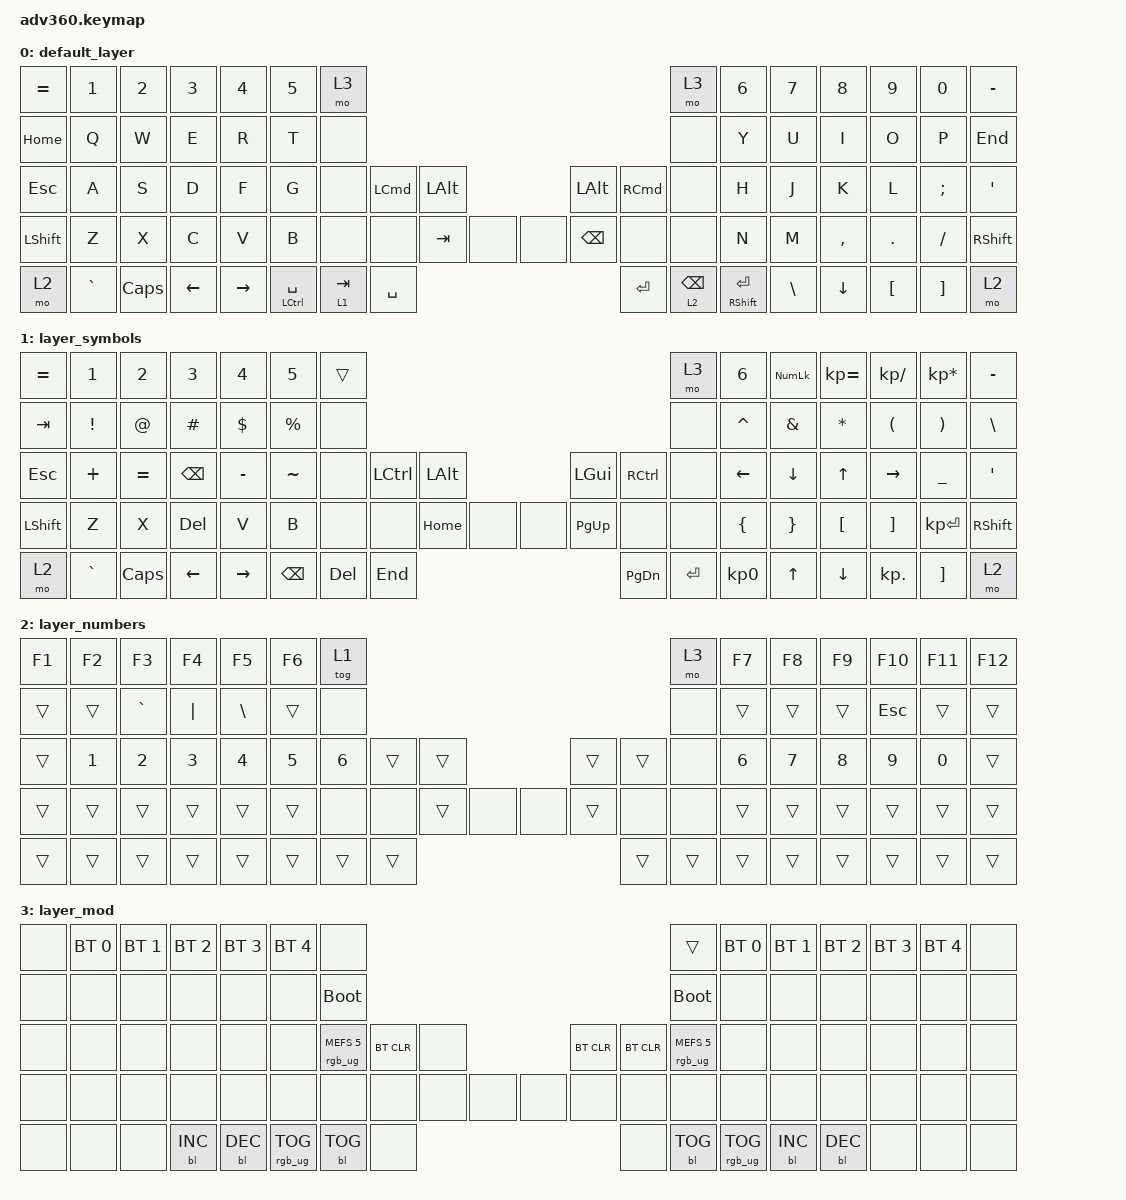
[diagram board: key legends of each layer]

/*
 * Copyright (c) 2020 The ZMK Contributors
 *
 * SPDX-License-Identifier: MIT
 */


/* THIS FILE WAS GENERATED!
 *
 * This file was generated automatically. You may or may not want to
 * edit it directly.
 */

#include <behaviors.dtsi>
#include <dt-bindings/zmk/keys.h>
#include <dt-bindings/zmk/bt.h>
#include <dt-bindings/zmk/rgb.h>
#include <dt-bindings/zmk/backlight.h>

&mt {
    tapping-term-ms = <150>;
    quick-tap-ms = <100>;
};

&lt {
    tapping-term-ms = <150>;
    quick-tap-ms = <100>;
};


/ {
  behaviors {
    #include "macros.dtsi"

    hm: homerow_mods {
        compatible = "zmk,behavior-hold-tap";
        label = "HOMEROW_MODS";
        #binding-cells = <2>;
        tapping-term-ms = <200>;
        quick_tap_ms = <175>;
        flavor = "tap-preferred";
        bindings = <&kp>, <&kp>;
    };
  };

    keymap {
        compatible = "zmk,keymap";


        default_layer {
            bindings = <
 &kp EQUAL     &kp N1    &kp N2    &kp N3     &kp N4  &kp N5                      &mo 3                                                                                            &mo 3  &kp N6         &kp N7     &kp N8    &kp N9    &kp N0  &kp MINUS
  &kp HOME      &kp Q     &kp W     &kp E      &kp R   &kp T                      &none                                                                                            &none   &kp Y          &kp U      &kp I     &kp O     &kp P    &kp END
   &kp ESC      &kp A     &kp S     &kp D      &kp F   &kp G                      &none  &kp LEFT_COMMAND   &kp LALT                       &kp LALT  &kp RIGHT_COMMAND             &none   &kp H          &kp J      &kp K     &kp L  &kp SEMI    &kp SQT
 &kp LSHFT      &kp Z     &kp X     &kp C      &kp V   &kp B                      &none             &none    &kp TAB   &none   &none  &kp BACKSPACE              &none             &none   &kp N          &kp M  &kp COMMA   &kp DOT  &kp FSLH  &kp RSHFT
     &mo 2  &kp GRAVE  &kp CAPS  &kp LEFT  &kp RIGHT                    &mt LCTRL SPACE         &lt 1 TAB  &kp SPACE                      &kp ENTER    &lt 2 BACKSPACE  &mt RSHIFT ENTER          &kp BACKSLASH   &kp DOWN  &kp LBKT  &kp RBKT      &mo 2
            >;
        };

        layer_symbols {
            bindings = <
 &kp EQUAL           &kp N1     &kp N2         &kp N3      &kp N4       &kp N5              &trans                                                                 &mo 3          &kp N6       &kp KP_NUM      &kp KP_EQUAL         &kp KP_DIVIDE        &kp KP_MULTIPLY  &kp MINUS
   &kp TAB  &kp EXCLAMATION     &kp AT       &kp HASH  &kp DOLLAR  &kp PERCENT               &none                                                                 &none       &kp CARET    &kp AMPERSAND      &kp ASTERISK  &kp LEFT_PARENTHESIS  &kp RIGHT_PARENTHESIS   &kp BSLH
   &kp ESC         &kp PLUS  &kp EQUAL  &kp BACKSPACE   &kp MINUS    &kp TILDE               &none  &kp LCTRL  &kp LALT                   &kp LGUI  &kp RCTRL      &none  &kp LEFT_ARROW   &kp DOWN_ARROW      &kp UP_ARROW       &kp RIGHT_ARROW         &kp UNDERSCORE    &kp SQT
 &kp LSHFT            &kp Z      &kp X     &kp DELETE       &kp V        &kp B               &none      &none  &kp HOME   &none   &none  &kp PG_UP      &none      &none  &kp LEFT_BRACE  &kp RIGHT_BRACE  &kp LEFT_BRACKET     &kp RIGHT_BRACKET           &kp KP_ENTER  &kp RSHFT
     &mo 2        &kp GRAVE   &kp CAPS       &kp LEFT   &kp RIGHT                         &kp BSPC    &kp DEL   &kp END                  &kp PG_DN  &kp ENTER  &kp KP_N0                           &kp UP          &kp DOWN            &kp KP_DOT               &kp RBKT      &mo 2
            >;
        };

        layer_numbers {
            bindings = <
 &kp F1        &kp F2        &kp F3        &kp F4         &kp F5        &kp F6                  &tog 1                                                   &mo 3        &kp F7        &kp F8        &kp F9       &kp F10       &kp F11  &kp F12
 &trans        &trans     &kp GRAVE      &kp PIPE  &kp BACKSLASH        &trans                   &none                                                   &none        &trans        &trans        &trans    &kp ESCAPE        &trans   &trans
 &trans  &kp NUMBER_1  &kp NUMBER_2  &kp NUMBER_3   &kp NUMBER_4  &kp NUMBER_5            &kp NUMBER_6  &trans  &trans                  &trans  &trans   &none  &kp NUMBER_6  &kp NUMBER_7  &kp NUMBER_8  &kp NUMBER_9  &kp NUMBER_0   &trans
 &trans        &trans        &trans        &trans         &trans        &trans                   &none   &none  &trans   &none   &none  &trans   &none   &none        &trans        &trans        &trans        &trans        &trans   &trans
 &trans        &trans        &trans        &trans         &trans                                &trans  &trans  &trans                  &trans  &trans  &trans                      &trans        &trans        &trans        &trans   &trans
            >;
        };

        layer_mod {
            bindings = <
  &none  &bt BT_SEL 0  &bt BT_SEL 1  &bt BT_SEL 2  &bt BT_SEL 3  &bt BT_SEL 4                             &none                                                                              &trans  &bt BT_SEL 0  &bt BT_SEL 1  &bt BT_SEL 2  &bt BT_SEL 3  &bt BT_SEL 4   &none
  &none         &none         &none         &none         &none         &none                       &bootloader                                                                         &bootloader         &none         &none         &none         &none         &none   &none
  &none         &none         &none         &none         &none         &none            &rgb_ug RGB_MEFS_CMD 5  &bt BT_CLR   &none                  &bt BT_CLR  &bt BT_CLR  &rgb_ug RGB_MEFS_CMD 5         &none         &none         &none         &none         &none   &none
  &none         &none         &none         &none         &none         &none                             &none       &none   &none   &none   &none       &none       &none                   &none         &none         &none         &none         &none         &none   &none
  &none         &none         &none    &bl BL_INC    &bl BL_DEC                                 &rgb_ug RGB_TOG  &bl BL_TOG   &none                       &none  &bl BL_TOG         &rgb_ug RGB_TOG                  &bl BL_INC    &bl BL_DEC         &none         &none   &none
            >;
        };

    };
};
